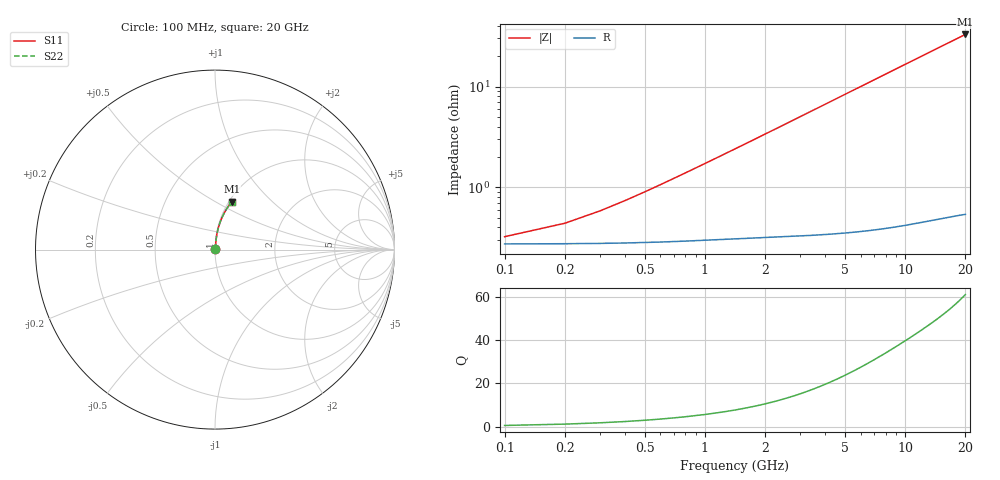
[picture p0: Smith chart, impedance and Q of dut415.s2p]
! Touchstone file exported from HFSS 2024.1.0
!  File:  C:/UserFiles/LocalFiles/RDL_TSV_Batchsim/temp_RDL_bottom_415_1779683495.aedt
!  Generated:  12:34:02 PM May 25, 2026
!  Design:  RDL_bottom
!  Project:  temp_RDL_bottom_415_1779683495
!  Setup:  Setup1
!  Solution:  Sweep
! Variables:
!  dtsv = 10.80580581um
!  hbump = 3um
!  htsv = 83.77um
!  ldown = 177.87um
!  lrdl = 100um
!  p = 40
!  p1 = 58.05um
!  rhole = 1um
!  t = 450um
!  tdown = 2.28um
!  trdl = 3.915915916um
!  wdown = 11.11um
!  wrdl = 20um
# GHz S MA R 50.000000
! Terminal data exported
! Port[1] = RDL1_T1
! Port[2] = RDL1_T2
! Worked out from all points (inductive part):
!   200 points, 100 MHz to 20 GHz, reference 50 ohm
!   read as one part in series: L = 271 pH near 500 MHz
!   highest Q = 61.1 at 20 GHz (marker M1), where L = 262 pH
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0.1  0.003104 28.4  0.9973 -0.1  0.9973 -0.1  0.003104 28.4
! Gamma 0 0 0 0
! Port Impedance 50 0 50 0
0.3  0.005216 57.8  0.9972 -0.3  0.9972 -0.3  0.005216 57.8
0.4  0.006516 64.4  0.9972 -0.4  0.9972 -0.4  0.006516 64.4
0.5  0.00787 68.6  0.9971 -0.6  0.9971 -0.6  0.00787 68.6
0.6  0.00925 71.6  0.9971 -0.7  0.9971 -0.7  0.00925 71.6
0.7  0.01064 73.8  0.997 -0.8  0.997 -0.8  0.01064 73.8
0.9  0.01345 76.7  0.9969 -1.0  0.9969 -1.0  0.01345 76.7
1.2  0.01769 79.3  0.9967 -1.3  0.9967 -1.3  0.01769 79.3
1.4  0.02052 80.4  0.9966 -1.5  0.9966 -1.5  0.02052 80.4
1.7  0.02477 81.5  0.9963 -1.9  0.9963 -1.9  0.02477 81.5
2.2  0.03188 82.7  0.9959 -2.4  0.9959 -2.4  0.03188 82.7
2.8  0.04045 83.3  0.9952 -3.0  0.9952 -3.0  0.04045 83.3
3.5  0.05049 83.6  0.9943 -3.8  0.9943 -3.8  0.05049 83.6
4.2  0.06056 83.6  0.9933 -4.5  0.9933 -4.5  0.06056 83.6
5  0.07211 83.4  0.9919 -5.4  0.9919 -5.4  0.07211 83.4
5.9  0.08513 83.0  0.9901 -6.3  0.9901 -6.3  0.08513 83.0
6.8  0.09818 82.5  0.9881 -7.3  0.9881 -7.3  0.09818 82.5
8.3  0.1199 81.4  0.9844 -8.8  0.9844 -8.8  0.1199 81.4
10.1  0.1459 79.9  0.9793 -10.6  0.9793 -10.6  0.1459 79.9
13.4  0.1929 76.9  0.9685 -13.9  0.9685 -13.9  0.1929 77.0
16.7  0.2384 73.9  0.9562 -17.1  0.9562 -17.1  0.2384 73.9
20  0.282 70.8  0.9424 -20.1  0.9424 -20.1  0.282 70.8
